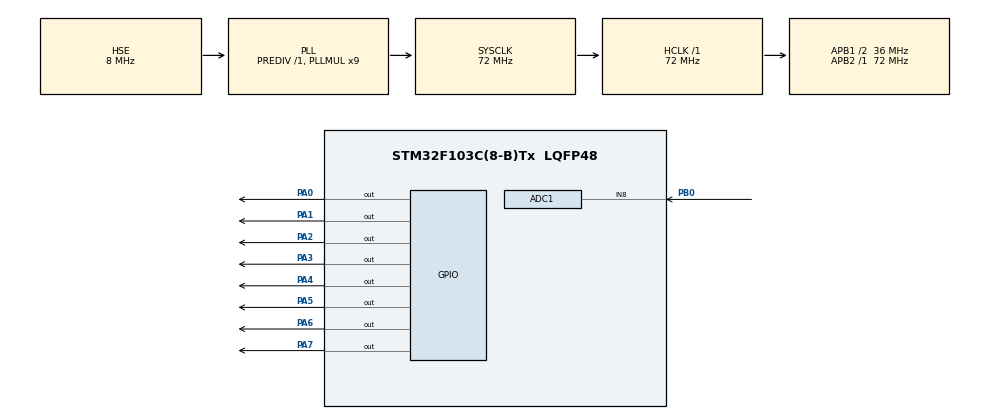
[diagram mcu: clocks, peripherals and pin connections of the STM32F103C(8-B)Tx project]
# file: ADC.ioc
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ADC1.Channel-1\#ChannelRegularConversion=ADC_CHANNEL_8
ADC1.NbrOfConversionFlag=1
ADC1.Rank-1\#ChannelRegularConversion=1
ADC1.SamplingTime-1\#ChannelRegularConversion=ADC_SAMPLETIME_1CYCLE_5
ADC1.master=1
Mcu.Family=STM32F1
Mcu.Name=STM32F103C(8-B)Tx
Mcu.Package=LQFP48
NVIC.PriorityGroup=NVIC_PRIORITYGROUP_4
PA0-WKUP.Signal=GPIO_Output
PA1.Signal=GPIO_Output
PA13.Mode=Serial_Wire
PA13.Signal=SYS_JTMS-SWDIO
PA14.Mode=Serial_Wire
PA14.Signal=SYS_JTCK-SWCLK
PA2.Signal=GPIO_Output
PA3.Signal=GPIO_Output
PA4.Signal=GPIO_Output
PA5.Signal=GPIO_Output
PA6.Signal=GPIO_Output
PA7.Signal=GPIO_Output
PB0.Signal=ADCx_IN8
PD0-OSC_IN.Mode=HSE-External-Oscillator
PD0-OSC_IN.Signal=RCC_OSC_IN
PD1-OSC_OUT.Mode=HSE-External-Oscillator
PD1-OSC_OUT.Signal=RCC_OSC_OUT
ProjectManager.HeapSize=0x200
ProjectManager.StackSize=0x400
ProjectManager.TargetToolchain=MDK-ARM V5.32
RCC.ADCPresc=RCC_ADCPCLK2_DIV6
RCC.AHBFreq_Value=72000000
RCC.APB1CLKDivider=RCC_HCLK_DIV2
RCC.APB1Freq_Value=36000000
RCC.APB1TimFreq_Value=72000000
RCC.APB2Freq_Value=72000000
RCC.APB2TimFreq_Value=72000000
RCC.HCLKFreq_Value=72000000
RCC.PLLMUL=RCC_PLL_MUL9
RCC.PLLSourceVirtual=RCC_PLLSOURCE_HSE
RCC.SYSCLKFreq_VALUE=72000000
RCC.SYSCLKSource=RCC_SYSCLKSOURCE_PLLCLK
RCC.USBFreq_Value=72000000
SH.ADCx_IN8.0=ADC1_IN8,IN8
board=custom

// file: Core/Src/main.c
/* USER CODE BEGIN Header */
/**
  ******************************************************************************
  * @file           : main.c
  * @brief          : Main program body
  ******************************************************************************
  * @attention
  *
  * Copyright (c) 2023 STMicroelectronics.
  * All rights reserved.
  *
  * This software is licensed under terms that can be found in the LICENSE file
  * in the root directory of this software component.
  * If no LICENSE file comes with this software, it is provided AS-IS.
  *
  ******************************************************************************
  */
/* USER CODE END Header */
#include "main.h"

ADC_HandleTypeDef hadc1;

void SystemClock_Config(void);
static void MX_GPIO_Init(void);
static void MX_ADC1_Init(void);

/* USER CODE BEGIN 0 */
uint16_t adc_value;
uint16_t adc_value1;
uint16_t get_adc_chanel(uint32_t chanel)
{
		ADC_ChannelConfTypeDef sConfig = {0};
		sConfig.Channel = chanel;
		sConfig.Rank = ADC_REGULAR_RANK_1;
		sConfig.SamplingTime = ADC_SAMPLETIME_239CYCLES_5;
		if (HAL_ADC_ConfigChannel(&hadc1, &sConfig) != HAL_OK)
		{
			Error_Handler();
		}
		uint16_t adc;
		HAL_ADC_Start(&hadc1);
		HAL_ADC_PollForConversion(&hadc1, 1000);
		adc = HAL_ADC_GetValue(&hadc1);
		HAL_ADC_Stop(&hadc1);
		return adc;
}
/* USER CODE END 0 */

int main(void)
{

  /* MCU Configuration--------------------------------------------------------*/

  /* Reset of all peripherals, Initializes the Flash interface and the Systick. */
  HAL_Init();

  /* Configure the system clock */
  SystemClock_Config();

  /* Initialize all configured peripherals */
  MX_GPIO_Init();
  MX_ADC1_Init();
  /* USER CODE BEGIN 2 */
	HAL_ADCEx_Calibration_Start(&hadc1);
  /* USER CODE END 2 */

  /* Infinite loop */
  while (1)
  {

    /* USER CODE BEGIN 3 */
		HAL_ADC_Start(&hadc1);
		HAL_ADC_PollForConversion(&hadc1,1000);
		adc_value = HAL_ADC_GetValue(&hadc1);
		HAL_ADC_Stop(&hadc1);
		HAL_Delay(10);
  }
  /* USER CODE END 3 */
}

void SystemClock_Config(void)
{
  RCC_OscInitTypeDef RCC_OscInitStruct = {0};
  RCC_ClkInitTypeDef RCC_ClkInitStruct = {0};
  RCC_PeriphCLKInitTypeDef PeriphClkInit = {0};

  /** Initializes the RCC Oscillators according to the specified parameters
  * in the RCC_OscInitTypeDef structure.
  */
  RCC_OscInitStruct.OscillatorType = RCC_OSCILLATORTYPE_HSE;
  RCC_OscInitStruct.HSEState = RCC_HSE_ON;
  RCC_OscInitStruct.HSEPredivValue = RCC_HSE_PREDIV_DIV1;
  RCC_OscInitStruct.HSIState = RCC_HSI_ON;
  RCC_OscInitStruct.PLL.PLLState = RCC_PLL_ON;
  RCC_OscInitStruct.PLL.PLLSource = RCC_PLLSOURCE_HSE;
  RCC_OscInitStruct.PLL.PLLMUL = RCC_PLL_MUL9;
  if (HAL_RCC_OscConfig(&RCC_OscInitStruct) != HAL_OK)
  {
    Error_Handler();
  }

  /** Initializes the CPU, AHB and APB buses clocks
  */
  RCC_ClkInitStruct.ClockType = RCC_CLOCKTYPE_HCLK|RCC_CLOCKTYPE_SYSCLK
                              |RCC_CLOCKTYPE_PCLK1|RCC_CLOCKTYPE_PCLK2;
  RCC_ClkInitStruct.SYSCLKSource = RCC_SYSCLKSOURCE_PLLCLK;
  RCC_ClkInitStruct.AHBCLKDivider = RCC_SYSCLK_DIV1;
  RCC_ClkInitStruct.APB1CLKDivider = RCC_HCLK_DIV2;
  RCC_ClkInitStruct.APB2CLKDivider = RCC_HCLK_DIV1;

  if (HAL_RCC_ClockConfig(&RCC_ClkInitStruct, FLASH_LATENCY_2) != HAL_OK)
  {
    Error_Handler();
  }
  PeriphClkInit.PeriphClockSelection = RCC_PERIPHCLK_ADC;
  PeriphClkInit.AdcClockSelection = RCC_ADCPCLK2_DIV6;
  if (HAL_RCCEx_PeriphCLKConfig(&PeriphClkInit) != HAL_OK)
  {
    Error_Handler();
  }
}

static void MX_ADC1_Init(void)
{

  ADC_ChannelConfTypeDef sConfig = {0};

  /** Common config
  */
  hadc1.Instance = ADC1;
  hadc1.Init.ScanConvMode = ADC_SCAN_DISABLE;
  hadc1.Init.ContinuousConvMode = DISABLE;
  hadc1.Init.DiscontinuousConvMode = DISABLE;
  hadc1.Init.ExternalTrigConv = ADC_SOFTWARE_START;
  hadc1.Init.DataAlign = ADC_DATAALIGN_RIGHT;
  hadc1.Init.NbrOfConversion = 1;
  if (HAL_ADC_Init(&hadc1) != HAL_OK)
  {
    Error_Handler();
  }

  /** Configure Regular Channel
  */
  sConfig.Channel = ADC_CHANNEL_8;
  sConfig.Rank = ADC_REGULAR_RANK_1;
  sConfig.SamplingTime = ADC_SAMPLETIME_1CYCLE_5;
  if (HAL_ADC_ConfigChannel(&hadc1, &sConfig) != HAL_OK)
  {
    Error_Handler();
  }

}

static void MX_GPIO_Init(void)
{
  GPIO_InitTypeDef GPIO_InitStruct = {0};

  /* GPIO Ports Clock Enable */
  __HAL_RCC_GPIOD_CLK_ENABLE();
  __HAL_RCC_GPIOA_CLK_ENABLE();
  __HAL_RCC_GPIOB_CLK_ENABLE();

  /*Configure GPIO pin Output Level */
  HAL_GPIO_WritePin(GPIOA, GPIO_PIN_0|GPIO_PIN_1|GPIO_PIN_2|GPIO_PIN_3
                          |GPIO_PIN_4|GPIO_PIN_5|GPIO_PIN_6|GPIO_PIN_7, GPIO_PIN_RESET);

  /*Configure GPIO pins : PA0 PA1 PA2 PA3
                           PA4 PA5 PA6 PA7 */
  GPIO_InitStruct.Pin = GPIO_PIN_0|GPIO_PIN_1|GPIO_PIN_2|GPIO_PIN_3
                          |GPIO_PIN_4|GPIO_PIN_5|GPIO_PIN_6|GPIO_PIN_7;
  GPIO_InitStruct.Mode = GPIO_MODE_OUTPUT_PP;
  GPIO_InitStruct.Pull = GPIO_NOPULL;
  GPIO_InitStruct.Speed = GPIO_SPEED_FREQ_LOW;
  HAL_GPIO_Init(GPIOA, &GPIO_InitStruct);

}

void Error_Handler(void)
{
  __disable_irq();
  while (1)
  {
  }
}
